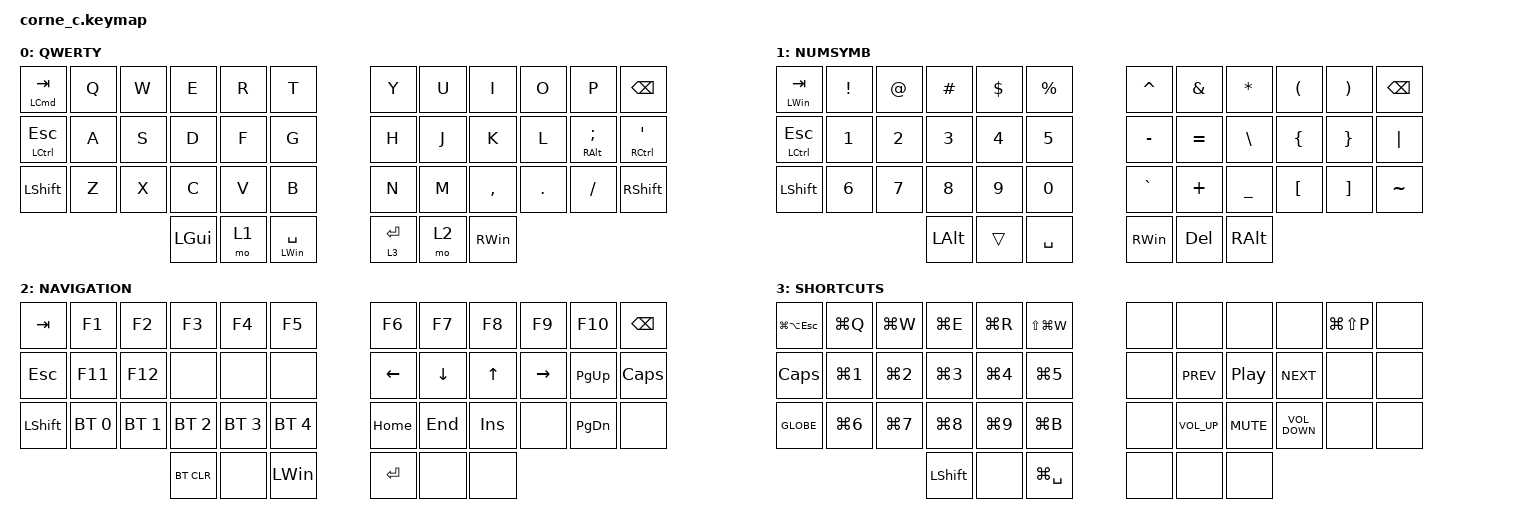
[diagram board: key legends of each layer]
/*
 * Copyright (c) 2020 The ZMK Contributors
 *
 * SPDX-License-Identifier: MIT
 */

#include <behaviors.dtsi>
#include <dt-bindings/zmk/bt.h>
#include <dt-bindings/zmk/keys.h>

#define DEFAULT    0
#define NUMSYMB    1
#define NAVIGATION  2
#define SHORTCUTS   3

/ {
    behaviors {
        ht: ht {
            compatible = "zmk,behavior-hold-tap";
            label = "HT";
            bindings = <&kp>, <&kp>;

            #binding-cells = <2>;
            tapping-term-ms = <200>;
            flavor = "tap-preferred";
            quick-tap-ms = <150>;
        };

        td0: td0 {
            compatible = "zmk,behavior-tap-dance";
            label = "TD0";
            #binding-cells = <0>;
            bindings = <&ht ESCAPE BACKSLASH>, <&kp TAB>;
        };

        td3: td3 {
            compatible = "zmk,behavior-tap-dance";
            label = "TD3";
            #binding-cells = <0>;
            bindings = <&mo 1>, <&mo 3>;
        };

        HMR: HMR {
            compatible = "zmk,behavior-hold-tap";
            label = "HMR";
            bindings = <&kp>, <&kp>;

            #binding-cells = <2>;
            tapping-term-ms = <200>;
            quick-tap-ms = <150>;
            flavor = "tap-preferred";
        };
    };

    combos { compatible = "zmk,combos"; };

    keymap {
        compatible = "zmk,keymap";

        default_layer {
            label = "QWERTY";
            bindings = <
&HMR LEFT_COMMAND TAB     &kp Q  &kp W  &kp E         &kp R  &kp T                  &kp Y        &kp U  &kp I          &kp O       &kp P                &kp BACKSPACE
&HMR LEFT_CONTROL ESCAPE  &kp A  &kp S  &kp D         &kp F  &kp G                  &kp H        &kp J  &kp K          &kp L       &HMR RIGHT_ALT SEMI  &HMR RIGHT_CONTROL APOSTROPHE
&kp LEFT_SHIFT            &kp Z  &kp X  &kp C         &kp V  &kp B                  &kp N        &kp M  &kp COMMA      &kp PERIOD  &kp FSLH             &kp RIGHT_SHIFT
                                        &kp LEFT_GUI  &mo 1  &HMR LEFT_WIN SPACE    &lt 3 ENTER  &mo 2  &kp RIGHT_WIN
            >;
        };

        lower_layer {
            label = "NUMSYMB";
            bindings = <
&HMR LEFT_WIN TAB         &kp EXCLAMATION  &kp AT_SIGN   &kp HASH      &kp DOLLAR    &kp PERCENT    &kp CARET      &kp AMPERSAND  &kp ASTERISK    &kp LEFT_PARENTHESIS  &kp RIGHT_PARENTHESIS  &kp BSPC
&HMR LEFT_CONTROL ESCAPE  &kp NUMBER_1     &kp NUMBER_2  &kp NUMBER_3  &kp NUMBER_4  &kp N5         &kp MINUS      &kp EQUAL      &kp BACKSLASH   &kp LEFT_BRACE        &kp RIGHT_BRACE        &kp PIPE
&kp LEFT_SHIFT            &kp NUMBER_6     &kp N7        &kp N8        &kp N9        &kp N0         &kp GRAVE      &kp PLUS       &kp UNDERSCORE  &kp LEFT_BRACKET      &kp RIGHT_BRACKET      &kp TILDE
                                                         &kp LEFT_ALT  &trans        &kp SPACE      &kp RIGHT_WIN  &kp DELETE     &kp RIGHT_ALT
            >;
        };

        raise_layer {
            label = "NAVIGATION";
            bindings = <
&kp TAB     &kp F1        &kp F2        &kp F3        &kp F4        &kp F5          &kp F6    &kp F7    &kp F8   &kp F9     &kp F10        &kp BSPC
&kp ESCAPE  &kp F11       &kp F12       &none         &none         &none           &kp LEFT  &kp DOWN  &kp UP   &kp RIGHT  &kp PG_UP      &kp CAPSLOCK
&kp LSHFT   &bt BT_SEL 0  &bt BT_SEL 1  &bt BT_SEL 2  &bt BT_SEL 3  &bt BT_SEL 4    &kp HOME  &kp END   &kp INS  &none      &kp PAGE_DOWN  &none
                                        &bt BT_CLR    &none         &kp LEFT_WIN    &kp RET   &none     &none
            >;
        };

        layer_3 {
            label = "SHORTCUTS";
            bindings = <
&kp LG(LA(ESCAPE))  &kp LG(Q)         &kp LG(W)         &kp LG(E)         &kp LG(R)         &kp LS(LG(W))    &none  &none            &none             &none              &kp LG(LS(P))  &none
&kp CAPSLOCK        &kp LG(NUMBER_1)  &kp LG(N2)        &kp LG(N3)        &kp LG(N4)        &kp LG(N5)       &none  &kp C_PREV       &kp C_PLAY_PAUSE  &kp C_NEXT         &none          &none
&kp GLOBE           &kp LG(NUMBER_6)  &kp LG(NUMBER_7)  &kp LG(NUMBER_8)  &kp LG(NUMBER_9)  &kp LG(B)        &none  &kp C_VOLUME_UP  &kp C_MUTE        &kp C_VOLUME_DOWN  &none          &none
                                                        &kp LEFT_SHIFT    &none             &kp LG(SPACE)    &none  &none            &none
            >;
        };
    };
};
